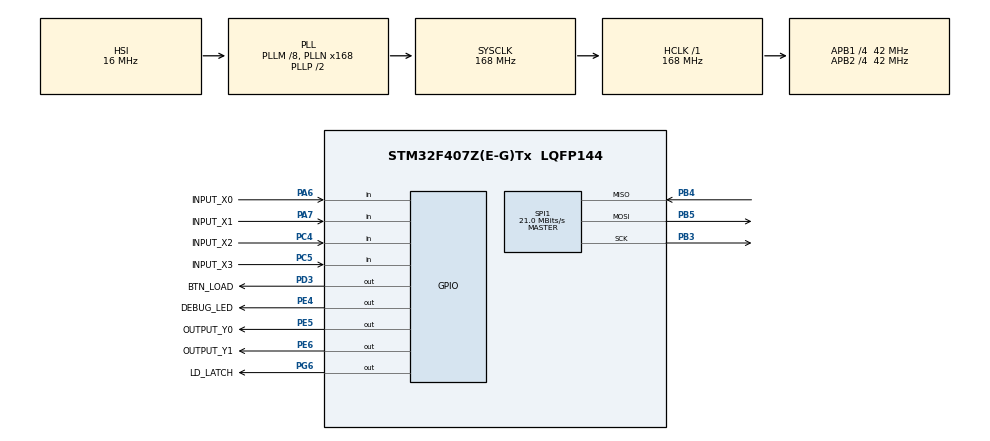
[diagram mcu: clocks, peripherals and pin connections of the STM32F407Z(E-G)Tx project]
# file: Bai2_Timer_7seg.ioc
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Mcu.Family=STM32F4
Mcu.Name=STM32F407Z(E-G)Tx
Mcu.Package=LQFP144
NVIC.PriorityGroup=NVIC_PRIORITYGROUP_4
NVIC.TIM2_IRQn=true\:0\:0\:false\:false\:true\:true\:true\:true
PA13.Mode=Serial_Wire
PA13.Signal=SYS_JTMS-SWDIO
PA14.Mode=Serial_Wire
PA14.Signal=SYS_JTCK-SWCLK
PA6.GPIO_Label=INPUT_X0
PA6.Signal=GPIO_Input
PA7.GPIO_Label=INPUT_X1
PA7.Signal=GPIO_Input
PB3.Mode=Full_Duplex_Master
PB3.Signal=SPI1_SCK
PB4.Mode=Full_Duplex_Master
PB4.Signal=SPI1_MISO
PB5.Mode=Full_Duplex_Master
PB5.Signal=SPI1_MOSI
PC4.GPIO_Label=INPUT_X2
PC4.Signal=GPIO_Input
PC5.GPIO_Label=INPUT_X3
PC5.Signal=GPIO_Input
PD3.GPIO_Label=BTN_LOAD
PD3.Signal=GPIO_Output
PE4.GPIO_Label=DEBUG_LED
PE4.Signal=GPIO_Output
PE5.GPIO_Label=OUTPUT_Y0
PE5.Signal=GPIO_Output
PE6.GPIO_Label=OUTPUT_Y1
PE6.Signal=GPIO_Output
PG6.GPIO_Label=LD_LATCH
PG6.Signal=GPIO_Output
PH0-OSC_IN.Mode=HSE-External-Oscillator
PH0-OSC_IN.Signal=RCC_OSC_IN
PH1-OSC_OUT.Mode=HSE-External-Oscillator
PH1-OSC_OUT.Signal=RCC_OSC_OUT
ProjectManager.HeapSize=0x200
ProjectManager.StackSize=0x400
ProjectManager.TargetToolchain=STM32CubeIDE
RCC.48MHZClocksFreq_Value=84000000
RCC.AHBFreq_Value=168000000
RCC.APB1CLKDivider=RCC_HCLK_DIV4
RCC.APB1Freq_Value=42000000
RCC.APB1TimFreq_Value=84000000
RCC.APB2CLKDivider=RCC_HCLK_DIV4
RCC.APB2Freq_Value=42000000
RCC.APB2TimFreq_Value=84000000
RCC.CortexFreq_Value=168000000
RCC.HCLKFreq_Value=168000000
RCC.HSE_VALUE=8000000
RCC.HSI_VALUE=16000000
RCC.LSE_VALUE=32768
RCC.PLLM=8
RCC.PLLN=168
RCC.SYSCLKFreq_VALUE=168000000
RCC.SYSCLKSource=RCC_SYSCLKSOURCE_PLLCLK
RCC.VCOOutputFreq_Value=336000000
SPI1.CalculateBaudRate=21.0 MBits/s
SPI1.Direction=SPI_DIRECTION_2LINES
SPI1.Mode=SPI_MODE_MASTER
SPI1.VirtualType=VM_MASTER
TIM2.Period=100-1
TIM2.Prescaler=840-1
VP_TIM2_VS_ClockSourceINT.Mode=Internal
board=custom

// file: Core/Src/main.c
/* USER CODE BEGIN Header */
/**
  ******************************************************************************
  * @file           : main.c
  * @brief          : Main program body
  ******************************************************************************
  * @attention
  *
  * <h2><center>&copy; Copyright (c) 2023 STMicroelectronics.
  * All rights reserved.</center></h2>
  *
  * This software component is licensed by ST under BSD 3-Clause license,
  * the "License"; You may not use this file except in compliance with the
  * License. You may obtain a copy of the License at:
  *                        opensource.org/licenses/BSD-3-Clause
  *
  ******************************************************************************
  */
/* USER CODE END Header */
#include "main.h"
#include "spi.h"
#include "tim.h"
#include "gpio.h"

/* USER CODE BEGIN Includes */
#include "software_timer.h"
#include "led_7seg.h"
/* USER CODE END Includes */

/* USER CODE BEGIN PD */
// Select the exercise: 4 = HH:MM clock, 5 = right-shifting digits.
#define LAB2_EXERCISE 4U
#define EX5_DIGIT_COUNT 4U
#define MAIN_TASK_PERIOD_MS 50U
#define EX5_SHIFT_TICKS (1000U / MAIN_TASK_PERIOD_MS)
#define EX4_SECOND_TICKS (1000U / MAIN_TASK_PERIOD_MS)
// A 2Hz full blink cycle is 500ms: toggle the colon every 250ms.
#define EX4_COLON_TICKS (250U / MAIN_TASK_PERIOD_MS)
/* USER CODE END PD */

/* USER CODE BEGIN PV */
static const uint8_t ex5_digits[EX5_DIGIT_COUNT] = {1, 5, 4, 7};
static uint8_t ex5_offset = 0;
static uint8_t ex5_ticks = 0;

static uint8_t ex4_hour = 0;
static uint8_t ex4_minute = 0;
static uint8_t ex4_second = 0;
static uint8_t ex4_second_ticks = 0;
static uint8_t ex4_colon_ticks = 0;
static uint8_t ex4_colon = 1;
/* USER CODE END PV */

void SystemClock_Config(void);
/* USER CODE BEGIN PFP */
void system_init();
void test_LedDebug();
void test_LedY0();
void test_LedY1();
static void ex5_show_digits(void);
static void ex5_update(void);
static void ex4_init(void);
static void ex4_show_time(void);
static void ex4_update(void);
/* USER CODE END PFP */

int main(void)
{

  /* MCU Configuration--------------------------------------------------------*/

  /* Reset of all peripherals, Initializes the Flash interface and the Systick. */
  HAL_Init();

  /* Configure the system clock */
  SystemClock_Config();

  /* Initialize all configured peripherals */
  MX_GPIO_Init();
  MX_TIM2_Init();
  MX_SPI1_Init();
  /* USER CODE BEGIN 2 */
  system_init();
  /* USER CODE END 2 */

  /* Infinite loop */
  /* USER CODE BEGIN WHILE */
  while (1)
  {
	  while(!flag_timer2);
	  flag_timer2 = 0;
	  // Run only the selected exercise; both use the same 50ms timer.
	  if(LAB2_EXERCISE == 4U){
		  ex4_update();
	  } else {
		  ex5_update();
	  }
    /* USER CODE END WHILE */

  }
}

void SystemClock_Config(void)
{
  RCC_OscInitTypeDef RCC_OscInitStruct = {0};
  RCC_ClkInitTypeDef RCC_ClkInitStruct = {0};

  /** Configure the main internal regulator output voltage
  */
  __HAL_RCC_PWR_CLK_ENABLE();
  __HAL_PWR_VOLTAGESCALING_CONFIG(PWR_REGULATOR_VOLTAGE_SCALE1);

  /** Initializes the RCC Oscillators according to the specified parameters
  * in the RCC_OscInitTypeDef structure.
  */
  RCC_OscInitStruct.OscillatorType = RCC_OSCILLATORTYPE_HSI;
  RCC_OscInitStruct.HSIState = RCC_HSI_ON;
  RCC_OscInitStruct.HSICalibrationValue = RCC_HSICALIBRATION_DEFAULT;
  RCC_OscInitStruct.PLL.PLLState = RCC_PLL_ON;
  RCC_OscInitStruct.PLL.PLLSource = RCC_PLLSOURCE_HSI;
  RCC_OscInitStruct.PLL.PLLM = 8;
  RCC_OscInitStruct.PLL.PLLN = 168;
  RCC_OscInitStruct.PLL.PLLP = RCC_PLLP_DIV2;
  RCC_OscInitStruct.PLL.PLLQ = 4;
  if (HAL_RCC_OscConfig(&RCC_OscInitStruct) != HAL_OK)
  {
    Error_Handler();
  }

  /** Initializes the CPU, AHB and APB buses clocks
  */
  RCC_ClkInitStruct.ClockType = RCC_CLOCKTYPE_HCLK|RCC_CLOCKTYPE_SYSCLK
                              |RCC_CLOCKTYPE_PCLK1|RCC_CLOCKTYPE_PCLK2;
  RCC_ClkInitStruct.SYSCLKSource = RCC_SYSCLKSOURCE_PLLCLK;
  RCC_ClkInitStruct.AHBCLKDivider = RCC_SYSCLK_DIV1;
  RCC_ClkInitStruct.APB1CLKDivider = RCC_HCLK_DIV4;
  RCC_ClkInitStruct.APB2CLKDivider = RCC_HCLK_DIV4;

  if (HAL_RCC_ClockConfig(&RCC_ClkInitStruct, FLASH_LATENCY_5) != HAL_OK)
  {
    Error_Handler();
  }
}

/* USER CODE BEGIN 4 */
void system_init(){
	  HAL_GPIO_WritePin(OUTPUT_Y0_GPIO_Port, OUTPUT_Y0_Pin, 0);
	  HAL_GPIO_WritePin(OUTPUT_Y1_GPIO_Port, OUTPUT_Y1_Pin, 0);
	  HAL_GPIO_WritePin(DEBUG_LED_GPIO_Port, DEBUG_LED_Pin, 0);
	  led7_init();
	  if(LAB2_EXERCISE == 4U){
		  ex4_init();
	  } else {
		  led7_SetColon(0);
		  ex5_show_digits();
	  }
	  setTimer2(MAIN_TASK_PERIOD_MS);
	  // Start scanning only after the display and software timer are ready.
	  timer_init();
}

uint8_t count_led_debug = 0;
uint8_t count_led_Y0 = 0;
uint8_t count_led_Y1 = 0;

void test_LedDebug(){
	count_led_debug = (count_led_debug + 1)%20;
	if(count_led_debug == 0){
		HAL_GPIO_TogglePin(DEBUG_LED_GPIO_Port, DEBUG_LED_Pin);
	}
}

void test_LedY0(){
	count_led_Y0 = (count_led_Y0+ 1)%100;
	if(count_led_Y0 > 40){
		HAL_GPIO_WritePin(OUTPUT_Y0_GPIO_Port, OUTPUT_Y0_Pin, 1);
	} else {
		HAL_GPIO_WritePin(OUTPUT_Y0_GPIO_Port, OUTPUT_Y0_Pin, 0);
	}
}

void test_LedY1(){
	count_led_Y1 = (count_led_Y1+ 1)%40;
	if(count_led_Y1 > 10){
		HAL_GPIO_WritePin(OUTPUT_Y1_GPIO_Port, OUTPUT_Y1_Pin, 0);
	} else {
		HAL_GPIO_WritePin(OUTPUT_Y0_GPIO_Port, OUTPUT_Y1_Pin, 1);
	}
}

static void ex5_show_digits(void){
	uint32_t primask = __get_PRIMASK();
	// Keep the scan ISR from reading a partially updated display buffer.
	__disable_irq();
	for(uint8_t position = 0; position < EX5_DIGIT_COUNT; position++){
		uint8_t source = (position + EX5_DIGIT_COUNT - ex5_offset) % EX5_DIGIT_COUNT;
		led7_SetDigit(ex5_digits[source], position, 0);
	}
	__set_PRIMASK(primask);
}

static void ex5_update(void){
	ex5_ticks++;
	if(ex5_ticks == EX5_SHIFT_TICKS){
		ex5_ticks = 0;
		ex5_offset = (ex5_offset + 1U) % EX5_DIGIT_COUNT;
		ex5_show_digits();
	}
}

static void ex4_init(void){
	// Start at 00:00:00 after reset; the clock uses a 24-hour format.
	ex4_hour = 0;
	ex4_minute = 0;
	ex4_second = 0;
	ex4_second_ticks = 0;
	ex4_colon_ticks = 0;
	ex4_colon = 1;
	ex4_show_time();
}

static void ex4_show_time(void){
	uint32_t primask = __get_PRIMASK();
	// The scan ISR shares both the digit buffer and the colon SPI bit.
	__disable_irq();
	led7_SetDigit(ex4_hour / 10U, 0, 0);
	led7_SetDigit(ex4_hour % 10U, 1, 0);
	led7_SetDigit(ex4_minute / 10U, 2, 0);
	led7_SetDigit(ex4_minute % 10U, 3, 0);
	led7_SetColon(ex4_colon);
	__set_PRIMASK(primask);
}

static void ex4_update(void){
	ex4_second_ticks++;
	if(ex4_second_ticks == EX4_SECOND_TICKS){
		ex4_second_ticks = 0;
		ex4_second++;
		if(ex4_second == 60U){
			ex4_second = 0;
			ex4_minute++;
			if(ex4_minute == 60U){
				ex4_minute = 0;
				ex4_hour = (ex4_hour + 1U) % 24U;
			}
		}
	}

	ex4_colon_ticks++;
	if(ex4_colon_ticks == EX4_COLON_TICKS){
		ex4_colon_ticks = 0;
		ex4_colon ^= 1U;
		// Minute changes coincide with this refresh (20 ticks = 4 x 5).
		ex4_show_time();
	}
}
/* USER CODE END 4 */

void Error_Handler(void)
{
  __disable_irq();
  while (1)
  {
  }
}
